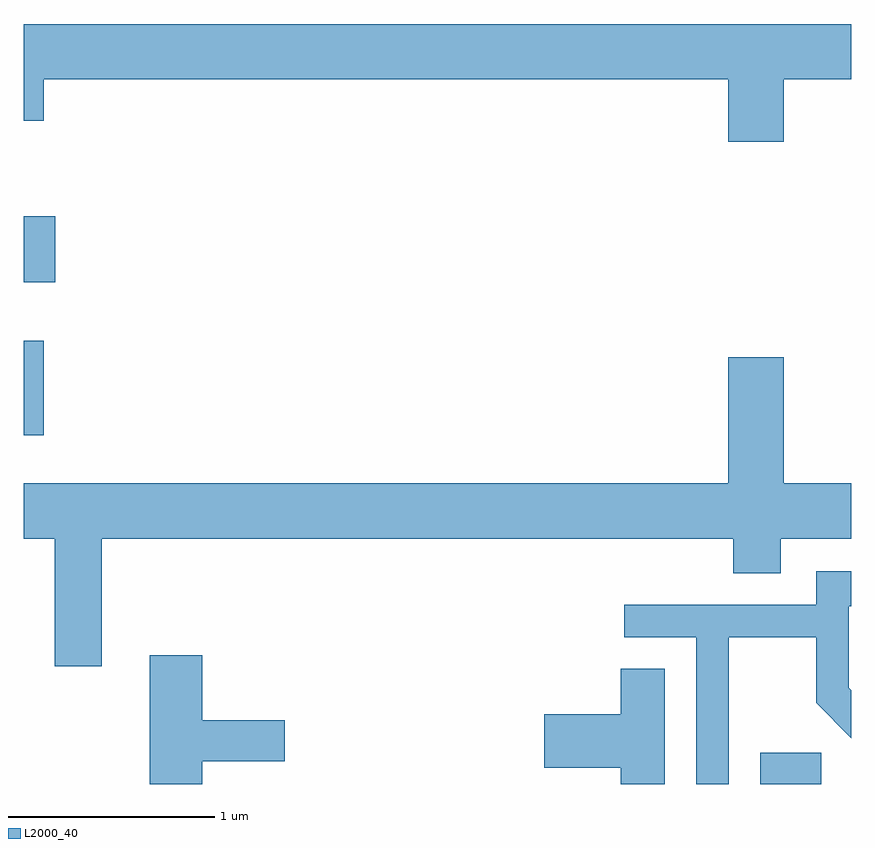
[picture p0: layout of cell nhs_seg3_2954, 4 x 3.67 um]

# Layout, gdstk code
import gdstk
lib = gdstk.Library(unit=1e-6, precision=1e-09)
def R(c, l, rs):  # rectangles x0, y0, x1, y1
    for r in rs: c.add(gdstk.rectangle(r[:2], r[2:], *l))
def P(c, l, *ps):  # polygons
    for p in ps: c.add(gdstk.Polygon(p, *l))
L2000_40 = (2000, 40)

nhs_seg3_2954 = lib.new_cell('nhs_seg3_2954')
R(nhs_seg3_2954, L2000_40, [(275.171,1175.892,275.464,1176.044), (271.611,1177.576,271.709,1178.034), (271.611,1178.316,271.764,1178.634)])
P(nhs_seg3_2954, L2000_40, [(275.284,1179.296),(275.611,1179.296),(275.611,1179.564),(271.611,1179.564),(271.611,1179.096),(271.709,1179.096),(271.709,1179.296),(275.016,1179.296),(275.016,1178.996),(275.284,1178.996)],
  [(271.989,1177.076),(275.041,1177.076),(275.041,1176.911),(275.269,1176.911),(275.269,1177.076),(275.611,1177.076),(275.611,1177.344),(275.284,1177.344),(275.284,1177.954),(275.016,1177.954),(275.016,1177.344),(271.611,1177.344),(271.611,1177.076),(271.761,1177.076),(271.761,1176.461),(271.989,1176.461)],
  [(275.019,1176.601),(275.441,1176.601),(275.441,1176.284),(275.611,1176.114),(275.611,1176.345),(275.599,1176.357),(275.599,1176.751),(275.611,1176.751),(275.611,1176.919),(275.441,1176.919),(275.441,1176.759),(274.513,1176.759),(274.513,1176.601),(274.861,1176.601),(274.861,1175.892),(275.019,1175.892)],
  [(272.474,1176.001),(272.874,1176.001),(272.874,1176.199),(272.474,1176.199),(272.474,1176.514),(272.221,1176.514),(272.221,1175.892),(272.474,1175.892)],
  [(274.709,1176.449),(274.496,1176.449),(274.496,1176.229),(274.126,1176.229),(274.126,1175.971),(274.496,1175.971),(274.496,1175.892),(274.709,1175.892)])

lib.write_gds('nhs_seg3_2954.gds')
